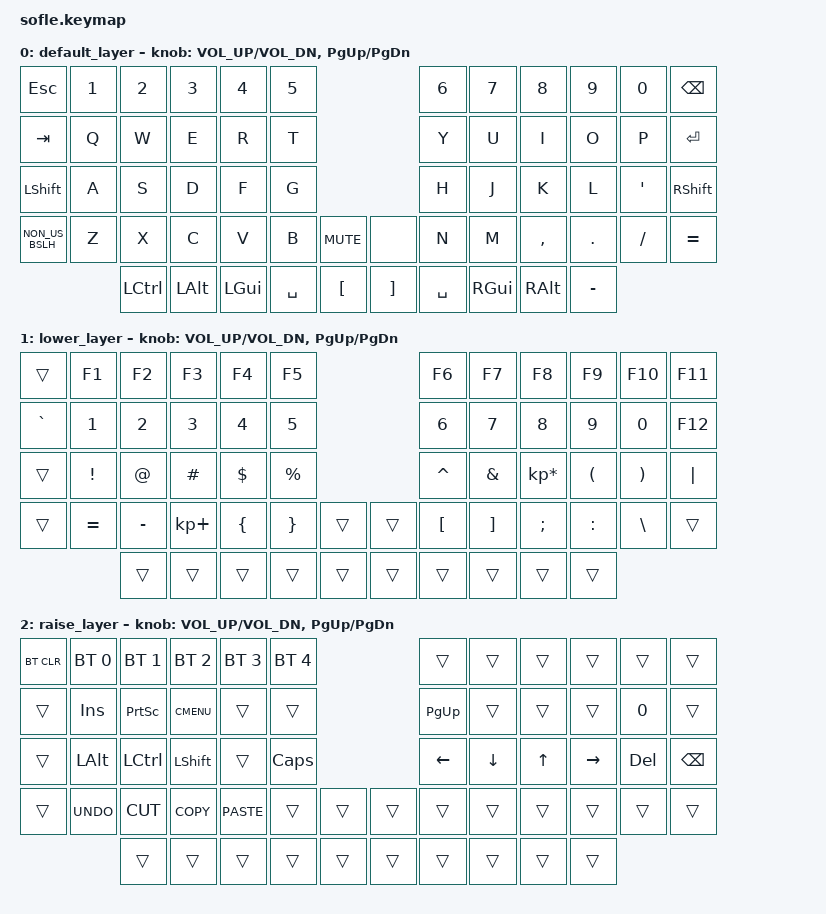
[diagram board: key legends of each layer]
/*
 * Copyright (c) 2020 The ZMK Contributors
 *  
 *
 * SPDX-License-Identifier: MIT
 */

#include <behaviors.dtsi>
#include <dt-bindings/zmk/bt.h>
#include <dt-bindings/zmk/keys.h>

/ {
    combos {
        compatible = "zmk,combos";

        semi-colon {
            bindings = <&kp SEMI>;
            key-positions = <46 50>;
        };

        colon {
            bindings = <&kp COLON>;
            key-positions = <47 50>;
        };
    };

    keymap {
        compatible = "zmk,keymap";

        default_layer {
            // ------------------------------------------------------------------------------------------------------------
            // |  `    |  1  |  2  |  3   |  4   |  5   |                   |  6   |  7    |  8    |  9   |   0   | EQUAL |
            // |  ESC  |  Q  |  W  |  E   |  R   |  T   |                   |  Y   |  U    |  I    |  O   |   P   | BKSPC |
            // |  TAB  |  A  |  S  |  D   |  F   |  G   |                   |  H   |  J    |  K    |  L   |   ;   |   '   |
            // | SHIFT |  Z  |  X  |  C   |  V   |  B   |  MUTE  |  |       |  N   |  M    |  ,    |  .   |   /   | SHIFT |
            //               | GUI | ALT  | CTRL | LOWER|  ENTER |  | SPACE | RAISE| CTRL  | ALT   | GUI  |

            bindings = <
&kp ESC          &kp N1  &kp N2     &kp N3    &kp N4    &kp N5                                     &kp N6             &kp N7    &kp N8     &kp N9     &kp NUMBER_0      &kp BSPC
&kp TAB          &kp Q   &kp W      &kp E     &kp R     &kp T                                      &kp Y              &kp U     &kp I      &kp O      &kp P             &kp RET
&kp LSHFT        &kp A   &kp S      &kp D     &kp F     &kp G                                      &kp H              &kp J     &kp K      &kp L      &kp SINGLE_QUOTE  &kp RSHFT
&kp NON_US_BSLH  &kp Z   &kp X      &kp C     &kp V     &kp B             &kp C_MUTE    &none      &kp N              &kp M     &kp COMMA  &kp DOT    &kp FSLH          &kp EQUAL
                         &kp LCTRL  &kp LALT  &kp LGUI  &kp SPACE  &kp LEFT_BRACKET     &kp RIGHT_BRACKET  &kp SPACE  &kp RGUI  &kp RALT   &kp MINUS
            >;

            sensor-bindings = <&inc_dec_kp C_VOL_UP C_VOL_DN &inc_dec_kp PG_UP PG_DN>;
        };

        lower_layer {
            // TODO: Some binds are waiting for shifted keycode support.
            // ------------------------------------------------------------------------------------------------------------
            // |       |  F1 |  F2 |  F3  |  F4  |  F5  |                   |  F6  |  F7   |  F8   |  F9  |  F10  |  F11  |
            // | `     |   1 |   2 |   3  |   4  |   5  |                   |   6  |   7   |   8   |   9  |    0  |  F12  |
            // |       |  !  |  @  |  #   |  $   |  %   |                   |  ^   |  &    |  *    |  (   |   )   |   |   |
            // |       |  =  |  -  |  +   |  {   |  }   |        |  |       |  [   |  ]    |  ;    |  :   |   \   |       |
            //               |     |      |      |      |        |  |       |      |       |       |      |

            bindings = <
&trans     &kp F1     &kp F2     &kp F3       &kp F4    &kp F5                       &kp F6     &kp F7    &kp F8           &kp F9     &kp F10   &kp F11
&kp GRAVE  &kp N1     &kp N2     &kp N3       &kp N4    &kp N5                       &kp N6     &kp N7    &kp N8           &kp N9     &kp N0    &kp F12
&trans     &kp EXCL   &kp AT     &kp HASH     &kp DLLR  &kp PRCNT                    &kp CARET  &kp AMPS  &kp KP_MULTIPLY  &kp LPAR   &kp RPAR  &kp PIPE
&trans     &kp EQUAL  &kp MINUS  &kp KP_PLUS  &kp LBRC  &kp RBRC   &trans    &trans  &kp LBKT   &kp RBKT  &kp SEMI         &kp COLON  &kp BSLH  &trans
                      &trans     &trans       &trans    &trans     &trans    &trans  &trans     &trans    &trans           &trans
            >;

            sensor-bindings = <&inc_dec_kp C_VOL_UP C_VOL_DN &inc_dec_kp PG_UP PG_DN>;
        };

        raise_layer {
            // ------------------------------------------------------------------------------------------------------------
            // |BTCLR| BT1  | BT2  |  BT3  |  BT4  |  BT5 |                |      |      |       |      |       |       |
            // |     | INS  | PSCR | GUI   |       |      |                | PGUP |      |       |      |       |       |
            // |     | ALT  | CTRL | SHIFT |       | CAPS |                |  <-  |   v  |   ^   |  ->  |  DEL  | BKSPC |
            // |     | UNDO | CUT  | COPY  | PASTE |      |      |  |      |      |      |       |      |       |       |
            //              |      |       |       |      |      |  |      |      |      |       |      |

            bindings = <
&bt BT_CLR  &bt BT_SEL 0  &bt BT_SEL 1  &bt BT_SEL 2  &bt BT_SEL 3  &bt BT_SEL 4                    &trans     &trans    &trans  &trans     &trans   &trans
&trans      &kp INS       &kp PSCRN     &kp K_CMENU   &trans        &trans                          &kp PG_UP  &trans    &trans  &trans     &kp N0   &trans
&trans      &kp LALT      &kp LCTRL     &kp LSHFT     &trans        &kp CLCK                        &kp LEFT   &kp DOWN  &kp UP  &kp RIGHT  &kp DEL  &kp BSPC
&trans      &kp K_UNDO    &kp K_CUT     &kp K_COPY    &kp K_PASTE   &trans        &trans    &trans  &trans     &trans    &trans  &trans     &trans   &trans
                          &trans        &trans        &trans        &trans        &trans    &trans  &trans     &trans    &trans  &trans
            >;

            sensor-bindings = <&inc_dec_kp C_VOL_UP C_VOL_DN &inc_dec_kp PG_UP PG_DN>;
        };
    };
};

&led_strip { chain-length = <35>; };
